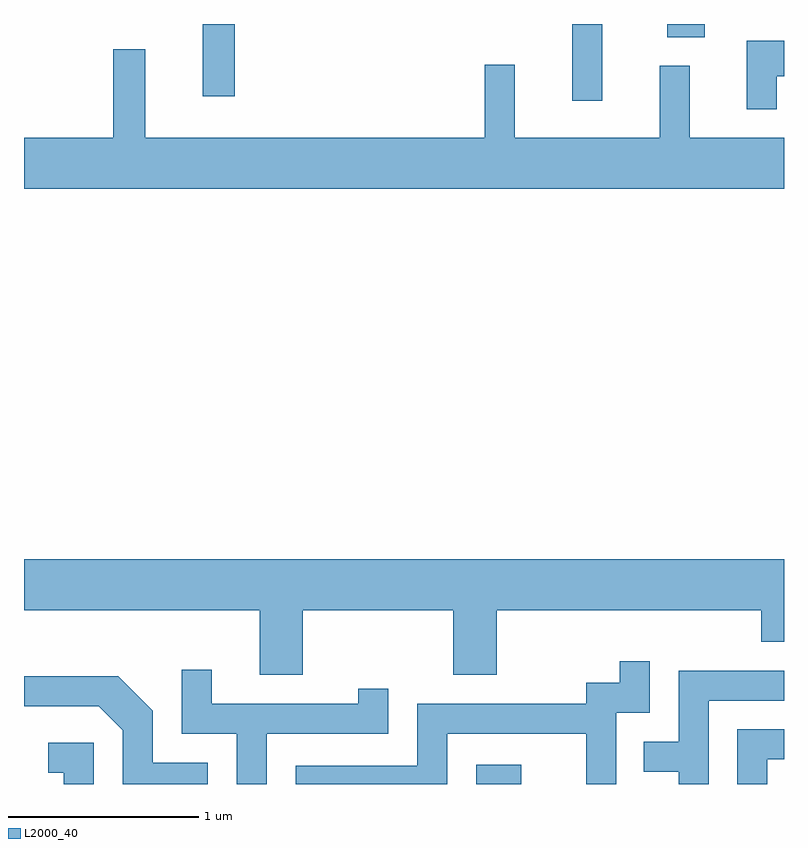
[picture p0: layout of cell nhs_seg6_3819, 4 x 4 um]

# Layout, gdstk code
import gdstk
lib = gdstk.Library(unit=1e-6, precision=1e-09)
def R(c, l, rs):  # rectangles x0, y0, x1, y1
    for r in rs: c.add(gdstk.rectangle(r[:2], r[2:], *l))
def P(c, l, *ps):  # polygons
    for p in ps: c.add(gdstk.Polygon(p, *l))
L2000_40 = (2000, 40)

nhs_seg6_3819 = lib.new_cell('nhs_seg6_3819')
R(nhs_seg6_3819, L2000_40, [(301.991,1620.162,302.228,1620.264), (302.496,1623.758,302.654,1624.162), (300.551,1623.783,300.719,1624.162), (302.996,1624.091,303.194,1624.162)])
P(nhs_seg6_3819, L2000_40, [(303.574,1623.886),(303.611,1623.886),(303.611,1624.074),(303.416,1624.074),(303.416,1623.713),(303.574,1623.713)],
  [(303.611,1623.564),(303.114,1623.564),(303.114,1623.943),(302.956,1623.943),(302.956,1623.564),(302.194,1623.564),(302.194,1623.948),(302.036,1623.948),(302.036,1623.564),(300.249,1623.564),(300.249,1624.028),(300.081,1624.028),(300.081,1623.564),(299.611,1623.564),(299.611,1623.296),(303.611,1623.296)],
  [(301.079,1621.076),(301.871,1621.076),(301.871,1620.736),(302.099,1620.736),(302.099,1621.076),(303.491,1621.076),(303.491,1620.911),(303.611,1620.911),(303.611,1621.344),(299.611,1621.344),(299.611,1621.076),(300.851,1621.076),(300.851,1620.736),(301.079,1620.736)],
  [(301.839,1620.426),(302.571,1620.426),(302.571,1620.162),(302.729,1620.162),(302.729,1620.536),(302.904,1620.536),(302.904,1620.808),(302.746,1620.808),(302.746,1620.694),(302.571,1620.694),(302.571,1620.584),(301.681,1620.584),(301.681,1620.259),(301.041,1620.259),(301.041,1620.162),(301.839,1620.162)],
  [(300.889,1620.426),(301.529,1620.426),(301.529,1620.663),(301.371,1620.663),(301.371,1620.584),(300.599,1620.584),(300.599,1620.763),(300.441,1620.763),(300.441,1620.426),(300.731,1620.426),(300.731,1620.162),(300.889,1620.162)],
  [(303.214,1620.601),(303.611,1620.601),(303.611,1620.759),(303.056,1620.759),(303.056,1620.384),(302.873,1620.384),(302.873,1620.226),(303.056,1620.226),(303.056,1620.162),(303.214,1620.162)],
  [(300.579,1620.274),(300.289,1620.274),(300.289,1620.547),(300.107,1620.729),(299.611,1620.729),(299.611,1620.571),(300.004,1620.571),(300.131,1620.444),(300.131,1620.162),(300.579,1620.162)],
  [(303.524,1620.291),(303.611,1620.291),(303.611,1620.449),(303.366,1620.449),(303.366,1620.162),(303.524,1620.162)],
  [(299.979,1620.379),(299.738,1620.379),(299.738,1620.221),(299.821,1620.221),(299.821,1620.162),(299.979,1620.162)])

lib.write_gds('nhs_seg6_3819.gds')
